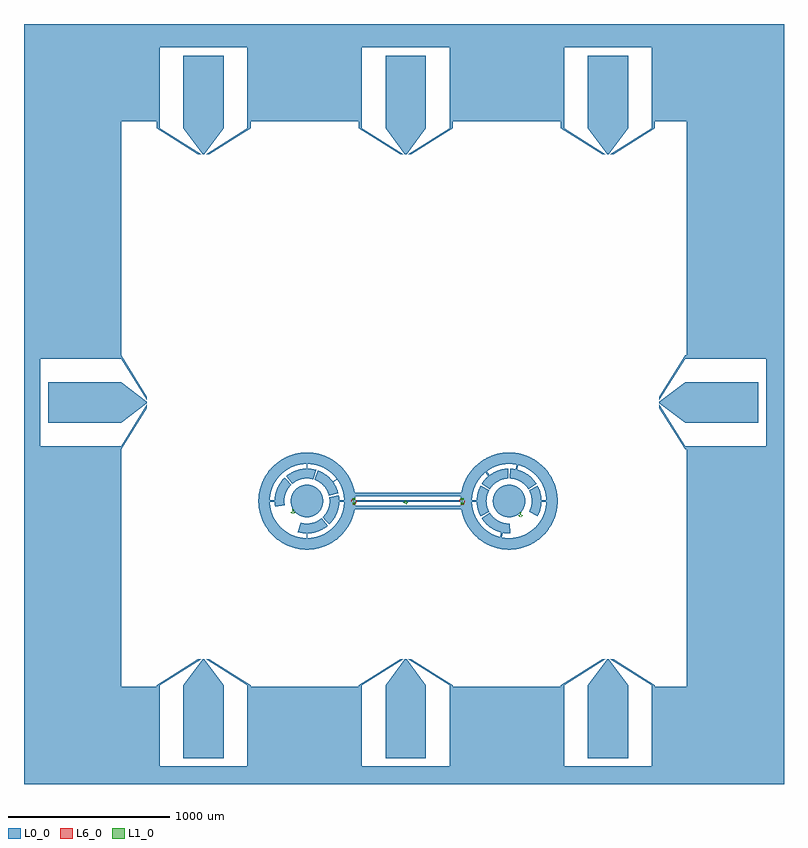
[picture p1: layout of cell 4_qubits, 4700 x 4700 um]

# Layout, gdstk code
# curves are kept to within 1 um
import gdstk
lib = gdstk.Library(unit=1e-6, precision=1e-09)
def R(c, l, rs):  # rectangles x0, y0, x1, y1
    for r in rs: c.add(gdstk.rectangle(r[:2], r[2:], *l))
def P(c, l, *ps):  # polygons
    for p in ps: c.add(gdstk.Polygon(p, *l))
L0_0 = (0, 0)
L1_0 = (1, 0)
L6_0 = (6, 0)

c_4_qubits = lib.new_cell('4_qubits')
R(c_4_qubits, L0_0, [(1977,1700,2773,1720), (1977,1745,2773,1755), (1977,1780,2773,1800)])
P(c_4_qubits, L0_0, [(4700,0),(4700,4700),(0,4700),(0,2089),(100,2089),(100,2631),(600,2631),(760,2375),(760,2395),(600,2651),(600,4100),(820,4100),(820,4055),(1076,3895),(1096,3895),(840,4055),(840,4555),(1382,4555),(1382,4055),(1126,3895),(1146,3895),(1402,4055),(1402,4100),(2070,4100),(2070,4055),(2326,3895),(2346,3895),(2090,4055),(2090,4555),(2632,4555),(2632,4055),(2376,3895),(2396,3895),(2652,4055),(2652,4100),(3320,4100),(3320,4055),(3576,3895),(3596,3895),(3340,4055),(3340,4555),(3882,4555),(3882,4055),(3626,3895),(3646,3895),(3902,4055),(3902,4100),(4100,4100),(4100,2651),(4090,2651),(3930,2395),(3930,2375),(4090,2631),(4590,2631),(4590,2089),(4090,2089),(3930,2345),(3930,2325),(4090,2069),(4100,2069),(4100,600),(3902,600),(3902,610),(3646,770),(3626,770),(3882,610),(3882,110),(3340,110),(3340,610),(3596,770),(3576,770),(3320,610),(3320,600),(2652,600),(2652,610),(2396,770),(2376,770),(2632,610),(2632,110),(2090,110),(2090,610),(2346,770),(2326,770),(2070,610),(2070,600),(1402,600),(1402,610),(1146,770),(1126,770),(1382,610),(1382,110),(840,110),(840,610),(1096,770),(1076,770),(820,610),(820,600),(600,600),(600,2069),(760,2325),(760,2345),(600,2089),(0,2089),(0,0)],
  [(1236,4055),(1236,4505),(986,4505),(986,4055),(1106,3895),(1116,3895)],
  [(2486,4055),(2486,4505),(2236,4505),(2236,4055),(2356,3895),(2366,3895)],
  [(3736,4055),(3736,4505),(3486,4505),(3486,4055),(3606,3895),(3616,3895)],
  [(760,2355),(760,2365),(600,2485),(150,2485),(150,2235),(600,2235)],
  [(4540,2485),(4090,2485),(3930,2365),(3930,2355),(4090,2235),(4540,2235)],
  [(1236,610),(1116,770),(1106,770),(986,610),(986,160),(1236,160)],
  [(2486,610),(2366,770),(2356,770),(2236,610),(2236,160),(2486,160)],
  [(3736,610),(3616,770),(3606,770),(3486,610),(3486,160),(3736,160)],
  [(1754.909,1450.04),(1784.286,1451.966),(1813.333,1456.761),(1841.771,1464.381),(1873.812,1476.741),(1904.231,1492.681),(1928.71,1509.038),(1951.468,1527.715),(1974.128,1550.599),(1864.61,1550.599),(1838.895,1537.873),(1810.14,1528.002),(1780.335,1522.009),(1752,1520.016),(1752,1550.019),(1765.463,1550.599),(1734.714,1550.599),(1748,1550.023),(1748,1520.016),(1719.665,1522.009),(1689.86,1528.002),(1661.105,1537.873),(1635.39,1550.599),(1525.872,1550.599),(1548.532,1527.715),(1575.257,1506.146),(1600,1490.192),(1630.675,1474.752),(1658.229,1464.381),(1691.473,1455.764),(1725.484,1451.003)],
  [(1633.904,1551.451),(1611.751,1566.187),(1588.716,1586.026),(1570.858,1605.749),(1555.398,1627.403),(1476.202,1627.403),(1497.865,1587.433),(1525.872,1550.599)],
  [(1770.245,1551.027),(1803.243,1557.217),(1830.366,1566.857),(1855.825,1580.291),(1879.092,1597.241),(1853.603,1627.403),(1817.586,1627.403),(1790.499,1615.986),(1760.824,1610.419),(1737.323,1610.575),(1710.941,1615.559),(1694.202,1557.941),(1731.89,1550.822)],
  [(1891.854,1609.013),(1895.198,1612.459),(1898.458,1615.984),(1901.632,1619.587),(1904.719,1623.265),(1907.717,1627.015),(1908.012,1627.403),(1867.567,1627.403),(1888.429,1605.648)],
  [(1975.552,1552.196),(2002.135,1587.433),(2023.798,1627.403),(1944.602,1627.403),(1929.142,1605.749),(1908.551,1583.382),(1888.249,1566.187),(1864.61,1550.599),(1974.128,1550.599)],
  [(1553.398,1630.637),(1540.928,1654.14),(1531.257,1678.926),(1524.513,1704.663),(1520.516,1734.619),(1450.399,1734.619),(1453.247,1705.981),(1457.837,1681.877),(1465.921,1653.568),(1476.202,1627.403),(1555.398,1627.403)],
  [(1612.213,1725.208),(1611.657,1728.523),(1611.181,1731.85),(1610.853,1734.619),(1550.602,1734.619),(1550.672,1733.621),(1551.122,1728.84),(1551.688,1724.072),(1552.367,1719.319),(1553.161,1714.583)],
  [(1910.624,1630.837),(1926.067,1655.13),(1937.863,1681.388),(1945.767,1709.067),(1949.394,1734.619),(1889.153,1734.619),(1884.619,1711.56),(1876.293,1689.583),(1864.407,1669.309),(1846.9,1648.954),(1867.567,1627.403),(1908.012,1627.403)],
  [(2025.248,1630.675),(2035.619,1658.229),(2042.163,1681.877),(2046.753,1705.981),(2049.601,1734.619),(1979.484,1734.619),(1975.487,1704.663),(1968.743,1678.926),(1959.072,1654.14),(1944.602,1627.403),(2023.798,1627.403)],
  [(1840.364,1643.069),(1837.771,1640.93),(1835.127,1638.854),(1832.435,1636.843),(1829.694,1634.896),(1826.908,1633.016),(1824.077,1631.204),(1821.204,1629.46),(1818.29,1627.785),(1817.586,1627.403),(1853.603,1627.403)],
  [(1450.361,1735.28),(1520.516,1734.619),(1520.061,1745),(1550.076,1745),(1550.602,1734.619),(1610.853,1734.619),(1610.101,1755.327),(1612.963,1778.653),(1618.496,1798.028),(1627.974,1818.612),(1562.137,1818.612),(1553.307,1786.221),(1550.077,1755),(1520.061,1755),(1523.137,1787.857),(1530.48,1818.612),(1457.955,1818.612),(1451.445,1779.405)],
  [(1885.959,1783.395),(1944.227,1797.707),(1937.847,1818.612),(1872.025,1818.612),(1879.757,1802.566)],
  [(2049.639,1735.28),(2048.555,1779.405),(2042.045,1818.612),(1969.52,1818.612),(1976.863,1787.857),(1979.939,1755),(1949.924,1755),(1946.839,1785.417),(1887.787,1774.792),(1889.919,1754.755),(1889.153,1734.619),(1949.394,1734.619),(1949.923,1745),(1979.939,1745),(1979.484,1734.619)],
  [(1531.257,1821.074),(1544.212,1852.72),(1563.086,1884.014),(1481.606,1884.014),(1467.537,1851.067),(1457.955,1818.612),(1530.48,1818.612)],
  [(1628.383,1819.349),(1639.598,1836.089),(1653.1,1851.046),(1621.485,1884.014),(1601.54,1884.014),(1578.689,1853.212),(1562.137,1818.612)],
  [(1662.229,1859.07),(1684.664,1873.819),(1709.501,1884.014),(1636.749,1884.014),(1659.636,1856.931)],
  [(2041.009,1822.894),(2030.772,1855.675),(2018.394,1884.014),(1931.052,1884.014),(1910.608,1869.161),(1898.441,1884.014),(1798.248,1884.014),(1797.423,1881.723),(1818.789,1871.935),(1840.8,1856.561),(1857.346,1839.872),(1872.025,1818.612),(1937.847,1818.612),(1927.312,1842.523),(1912.962,1865.926),(1937.236,1883.563),(1955.788,1852.72),(1969.52,1818.612),(2042.045,1818.612)],
  [(1563.926,1885.191),(1578.231,1902.956),(1597.044,1921.769),(1614.809,1936.074),(1635.66,1949.556),(1526.01,1949.556),(1500.559,1916.671),(1481.606,1884.014),(1563.086,1884.014)],
  [(1712.73,1884.948),(1732.489,1888.901),(1752.61,1889.976),(1769.354,1888.656),(1789.059,1884.441),(1805.798,1942.059),(1782.396,1947.359),(1763.323,1949.556),(1736.902,1949.556),(1720.228,1947.772),(1696.757,1942.783),(1678.517,1936.789),(1644.175,1919.709),(1620.908,1902.759),(1636.749,1884.014)],
  [(2016.855,1887.071),(1996.68,1920.73),(1973.99,1949.556),(1864.34,1949.556),(1888.249,1933.813),(1911.284,1913.974),(1934.885,1886.799),(1931.052,1884.014),(2018.394,1884.014)],
  [(1897.012,1885.601),(1879.715,1902.23),(1860.551,1916.669),(1839.795,1928.709),(1817.748,1938.176),(1798.248,1884.014),(1898.441,1884.014)],
  [(1611.571,1894.352),(1608.146,1890.987),(1604.802,1887.541),(1601.542,1884.016),(1601.54,1884.014),(1621.485,1884.014)],
  [(1973.99,1949.556),(1951.468,1972.285),(1928.71,1990.962),(1904.231,2007.319),(1873.812,2023.259),(1841.771,2035.619),(1813.333,2043.239),(1784.286,2048.034),(1750,2050),(1715.714,2048.034),(1686.667,2043.239),(1658.229,2035.619),(1626.188,2023.259),(1595.769,2007.319),(1571.29,1990.962),(1548.532,1972.285),(1526.01,1949.556),(1635.66,1949.556),(1661.105,1962.127),(1689.86,1971.998),(1719.665,1977.991),(1748,1979.984),(1748,1949.981),(1736.902,1949.556),(1763.323,1949.556),(1752,1949.977),(1752,1979.984),(1780.335,1977.991),(1810.14,1971.998),(1838.895,1962.127),(1864.34,1949.556)],
  [(1751.441,1849.99),(1734.214,1848.746),(1714.747,1843.58),(1696.71,1834.618),(1680.834,1822.223),(1667.765,1806.898),(1658.031,1789.265),(1652.028,1770.039),(1650,1750),(1652.646,1727.146),(1661.734,1703),(1658.147,1703),(1658.147,1697),(1665.212,1697),(1682.944,1675.814),(1704.216,1661.096),(1725.746,1652.986),(1748.559,1650.01),(1751.441,1650.01)],
  [(1754.322,1650.093),(1771.449,1652.327),(1790.586,1658.606),(1808.077,1668.593),(1823.212,1681.882),(1835.377,1697.935),(1843.062,1713.402),(1847.972,1729.961),(1850,1750),(1847.972,1770.039),(1841.969,1789.265),(1833.841,1804.504),(1821.218,1820.199),(1805.707,1833.047),(1790.586,1841.394),(1771.449,1847.673),(1751.441,1849.99),(1751.441,1650.01)],
  [(3004.909,1450.04),(3034.286,1451.966),(3068.123,1457.837),(3096.432,1465.921),(3128.267,1478.803),(3154.231,1492.681),(3178.71,1509.038),(3205.078,1531.041),(3225.552,1552.196),(3117.346,1552.196),(3088.895,1537.873),(3060.14,1528.002),(3030.335,1522.009),(3000,1520),(2977.22,1521.131),(2953.708,1524.713),(2959.981,1552.196),(2949.724,1552.196),(2943.958,1526.935),(2911.105,1537.873),(2882.654,1552.196),(2774.448,1552.196),(2794.922,1531.041),(2821.29,1509.038),(2850,1490.192),(2880.675,1474.752),(2908.229,1464.381),(2941.473,1455.764),(2975.484,1451.003)],
  [(3006.282,1550.099),(3006.217,1552.196),(2970.539,1552.196),(2973.046,1551.825),(2977.769,1551.239),(2982.506,1550.767),(2987.252,1550.407),(2992.005,1550.16),(2996.763,1550.026),(3001.523,1550.006)],
  [(2880.637,1553.398),(2855.749,1570.858),(2833.382,1591.449),(2813.926,1614.809),(2798.403,1639.297),(2721.176,1639.297),(2733.145,1612.929),(2745.239,1591.58),(2759.038,1571.29),(2774.448,1552.196),(2882.654,1552.196)],
  [(3006.217,1552.196),(3004.398,1610.069),(2981.132,1611.277),(2955.219,1617.355),(2933.843,1626.618),(2914.298,1639.297),(2833.448,1639.297),(2849.852,1617.881),(2866.599,1600.989),(2889.163,1583.521),(2909.711,1571.54),(2931.536,1562.083),(2950.637,1556.197),(2949.724,1552.196),(2959.981,1552.196),(2960.387,1553.975),(2970.539,1552.196)],
  [(3225.552,1552.196),(3240.962,1571.29),(3254.761,1591.58),(3266.855,1612.929),(3278.824,1639.297),(3201.597,1639.297),(3186.074,1614.809),(3166.618,1591.449),(3144.251,1570.858),(3117.346,1552.196)],
  [(2797.721,1640.532),(2787.873,1661.105),(2780.112,1682.552),(2774.513,1704.663),(2770.843,1730.379),(2700.642,1730.379),(2703.247,1705.981),(2707.837,1681.877),(2721.176,1639.297),(2798.403,1639.297)],
  [(2876.618,1683.843),(2867.29,1705.413),(2861.391,1730.379),(2800.979,1730.379),(2804.15,1709.468),(2808.939,1690.875),(2823.739,1655.49)],
  [(3178.479,1659.749),(3192.425,1695.478),(3199.021,1730.379),(3138.609,1730.379),(3132.71,1705.413),(3123.382,1683.843),(3176.261,1655.49)],
  [(3279.005,1639.745),(3287.082,1662.915),(3293.239,1686.667),(3299.358,1730.379),(3229.157,1730.379),(3225.487,1704.663),(3219.888,1682.552),(3212.127,1661.105),(3201.597,1639.297)],
  [(2911.688,1641.368),(2894.896,1657.516),(2881.015,1676.226),(2830.021,1644.609),(2833.448,1639.297),(2914.298,1639.297)],
  [(2700.361,1735.28),(2700.642,1730.379),(2770.843,1730.379),(2770.061,1745),(2800.077,1745),(2800.979,1730.379),(2861.391,1730.379),(2860.01,1751.681),(2862.264,1775.073),(2868.398,1797.76),(2876.618,1816.157),(2811.274,1816.157),(2803.234,1785.819),(2800.077,1755),(2770.061,1755),(2772.542,1784.101),(2779.728,1816.157),(2707.395,1816.157),(2701.003,1774.516)],
  [(3299.639,1735.28),(3298.997,1774.516),(3292.605,1816.157),(3220.272,1816.157),(3227.458,1784.101),(3229.939,1755),(3199.923,1755),(3196.766,1785.819),(3188.726,1816.157),(3123.382,1816.157),(3131.602,1797.76),(3137.736,1775.073),(3139.99,1751.681),(3138.609,1730.379),(3199.021,1730.379),(3199.923,1745),(3229.939,1745),(3229.157,1730.379),(3299.358,1730.379)],
  [(2780.112,1817.448),(2794.212,1852.72),(2813.698,1884.872),(2732.038,1884.872),(2717.537,1851.067),(2707.395,1816.157),(2779.728,1816.157)],
  [(2882.82,1826.609),(2897.286,1845.131),(2917.334,1862.989),(2940.423,1876.691),(2962.455,1884.872),(2852.336,1884.872),(2830.021,1855.391),(2881.015,1823.774)],
  [(3169.979,1855.391),(3147.664,1884.872),(3037.545,1884.872),(3059.577,1876.691),(3082.666,1862.989),(3102.714,1845.131),(3118.985,1823.774)],
  [(3292.163,1818.123),(3282.463,1851.067),(3267.962,1884.872),(3186.302,1884.872),(3205.788,1852.72),(3220.272,1816.157),(3292.605,1816.157)],
  [(2823.739,1844.51),(2821.521,1840.251),(2819.406,1835.941),(2817.395,1831.581),(2815.489,1827.173),(2813.69,1822.722),(2811.997,1818.228),(2811.274,1816.157),(2876.618,1816.157)],
  [(3188.003,1818.228),(3186.31,1822.722),(3184.511,1827.173),(3182.605,1831.581),(3180.594,1835.941),(3178.479,1840.251),(3176.261,1844.51),(3123.382,1816.157),(3188.726,1816.157)],
  [(2965.703,1885.734),(2995.602,1889.931),(2993.76,1948.549),(2969.824,1947.71),(2937.177,1939.877),(2906.301,1926.693),(2879.258,1909.426),(2860.545,1932.89),(2883.904,1948.549),(2775.112,1948.549),(2750.559,1916.671),(2732.038,1884.872),(2813.698,1884.872),(2830.784,1905.775),(2852.723,1926.661),(2871.438,1903.192),(2852.336,1884.872)],
  [(3146.734,1885.901),(3129.403,1902.495),(3110.21,1916.895),(3080.74,1932.978),(3049.364,1943.808),(3050.446,1948.549),(3040.189,1948.549),(3039.616,1946.037),(3023.946,1948.549),(3006.24,1948.549),(3004.398,1889.931),(3021.123,1888.397),(3037.545,1884.872),(3147.664,1884.872)],
  [(3266.855,1887.071),(3246.68,1920.73),(3224.888,1948.549),(3116.096,1948.549),(3135.191,1936.074),(3155.775,1919.216),(3171.769,1902.956),(3186.302,1884.872),(3267.962,1884.872)],
  [(3224.888,1948.549),(3201.468,1972.285),(3178.71,1990.962),(3154.231,2007.319),(3123.812,2023.259),(3091.771,2035.619),(3063.333,2043.239),(3034.286,2048.034),(3000,2050),(2965.714,2048.034),(2936.667,2043.239),(2908.229,2035.619),(2876.188,2023.259),(2845.769,2007.319),(2821.29,1990.962),(2798.532,1972.285),(2775.112,1948.549),(2883.904,1948.549),(2911.105,1962.127),(2939.86,1971.998),(2969.665,1977.991),(3000,1980),(3022.78,1978.869),(3046.292,1975.287),(3040.189,1948.549),(3050.446,1948.549),(3056.042,1973.065),(3085.375,1963.567),(3116.096,1948.549)],
  [(2993.76,1948.549),(2993.718,1949.901),(2988.921,1949.693),(2984.13,1949.369),(2979.348,1948.931),(2976.054,1948.549)],
  [(3020.652,1948.931),(3015.87,1949.369),(3011.079,1949.693),(3006.282,1949.901),(3006.24,1948.549),(3023.946,1948.549)],
  [(3001.441,1849.99),(2984.214,1848.746),(2964.747,1843.58),(2946.71,1834.618),(2930.834,1822.223),(2917.765,1806.898),(2908.031,1789.265),(2902.028,1770.039),(2900,1750),(2902.028,1729.961),(2908.031,1710.735),(2916.159,1695.496),(2928.782,1679.801),(2944.293,1666.953),(2959.414,1658.606),(2978.551,1652.327),(2998.559,1650.01),(3001.441,1650.01)],
  [(3004.322,1650.093),(3021.449,1652.327),(3035.253,1656.42),(3053.29,1665.382),(3067.567,1676.289),(3075.961,1676.289),(3075.961,1682.289),(3073.58,1682.289),(3086.842,1700.417),(3095.016,1718.824),(3098.963,1735.639),(3100,1750),(3097.972,1770.039),(3091.969,1789.265),(3083.841,1804.504),(3071.218,1820.199),(3055.707,1833.047),(3040.586,1841.394),(3021.449,1847.673),(3001.441,1849.99),(3001.441,1650.01)])
P(c_4_qubits, L1_0, [(1658.047,1684.25),(1658.397,1684.25),(1658.397,1681.25),(1658.847,1681.25),(1658.847,1686.25),(1667.947,1686.25),(1667.947,1681.25),(1668.397,1681.25),(1668.397,1684.25),(1668.747,1684.25),(1668.747,1687),(1663.897,1687),(1663.897,1697),(1668.647,1697),(1668.647,1700),(1658.147,1700),(1658.147,1698),(1659.647,1698),(1659.647,1699),(1667.147,1699),(1667.147,1698),(1658.147,1698),(1658.147,1697),(1662.897,1697),(1662.897,1687),(1658.047,1687)],
  [(1666.897,1680.75),(1666.897,1680.507),(1669.397,1680.507),(1669.397,1674.95),(1657.397,1674.95),(1657.397,1680.507),(1659.897,1680.507),(1659.897,1680.75),(1656.897,1680.75),(1656.897,1680.35),(1654.797,1680.35),(1654.797,1681.25),(1649.997,1681.25),(1649.997,1679.35),(1651.397,1679.35),(1651.397,1680.35),(1653.397,1680.35),(1653.397,1679.35),(1649.997,1679.35),(1649.997,1678.45),(1654.797,1678.45),(1654.797,1679.35),(1656.897,1679.35),(1656.897,1674.35),(1669.897,1674.35),(1669.897,1679.35),(1673.397,1679.35),(1673.397,1680.35),(1675.397,1680.35),(1675.397,1679.35),(1671.997,1679.35),(1671.997,1678.45),(1676.797,1678.45),(1676.797,1681.25),(1671.997,1681.25),(1671.997,1680.35),(1669.897,1680.35),(1669.897,1680.75)],
  [(3065.361,1663.539),(3065.711,1663.539),(3065.711,1660.539),(3066.161,1660.539),(3066.161,1665.539),(3075.261,1665.539),(3075.261,1660.539),(3075.711,1660.539),(3075.711,1663.539),(3076.061,1663.539),(3076.061,1666.289),(3071.211,1666.289),(3071.211,1676.289),(3075.961,1676.289),(3075.961,1679.289),(3065.461,1679.289),(3065.461,1677.289),(3066.961,1677.289),(3066.961,1678.289),(3074.461,1678.289),(3074.461,1677.289),(3065.461,1677.289),(3065.461,1676.289),(3070.211,1676.289),(3070.211,1666.289),(3065.361,1666.289)],
  [(3074.211,1660.039),(3074.211,1659.796),(3076.711,1659.796),(3076.711,1654.239),(3064.711,1654.239),(3064.711,1659.796),(3067.211,1659.796),(3067.211,1660.039),(3064.211,1660.039),(3064.211,1659.639),(3062.111,1659.639),(3062.111,1660.539),(3057.311,1660.539),(3057.311,1658.639),(3058.711,1658.639),(3058.711,1659.639),(3060.711,1659.639),(3060.711,1658.639),(3057.311,1658.639),(3057.311,1657.739),(3062.111,1657.739),(3062.111,1658.639),(3064.211,1658.639),(3064.211,1653.639),(3077.211,1653.639),(3077.211,1658.639),(3080.711,1658.639),(3080.711,1659.639),(3082.711,1659.639),(3082.711,1658.639),(3079.311,1658.639),(3079.311,1657.739),(3084.111,1657.739),(3084.111,1660.539),(3079.311,1660.539),(3079.311,1659.639),(3077.211,1659.639),(3077.211,1660.039)],
  [(2039.5,1753),(2037.5,1753),(2037.5,1757.5),(2048,1757.5),(2048,1767.5),(2032,1767.5),(2032,1757.5),(2036.5,1757.5),(2036.5,1752.5),(2039.5,1752.5)],
  [(2709.5,1753),(2707.5,1753),(2707.5,1757.5),(2718,1757.5),(2718,1767.5),(2702,1767.5),(2702,1757.5),(2706.5,1757.5),(2706.5,1752.5),(2709.5,1752.5)],
  [(2359.5,1748),(2359.5,1747.5),(2354.65,1747.5),(2354.65,1744.75),(2354.95,1744.75),(2354.95,1741.75),(2355.45,1741.75),(2355.45,1746.75),(2364.55,1746.75),(2364.55,1741.75),(2365.05,1741.75),(2365.05,1744.75),(2365.35,1744.75),(2365.35,1747.5),(2360.5,1747.5),(2360.5,1748),(2365.25,1748),(2365.25,1751),(2354.75,1751),(2354.75,1749),(2356.25,1749),(2356.25,1750),(2363.75,1750),(2363.75,1749),(2354.75,1749),(2354.75,1748)],
  [(2048,1738.5),(2040.5,1738.5),(2040.5,1743.5),(2040.25,1743.5),(2040.25,1750.5),(2039.75,1750.5),(2039.75,1743.5),(2039.5,1743.5),(2039.5,1738.5),(2032,1738.5),(2032,1728.5),(2048,1728.5)],
  [(2718,1738.5),(2710.5,1738.5),(2710.5,1743.5),(2710.25,1743.5),(2710.25,1750.5),(2709.75,1750.5),(2709.75,1743.5),(2709.5,1743.5),(2709.5,1738.5),(2702,1738.5),(2702,1728.5),(2718,1728.5)],
  [(2351.4,1738.95),(2351.4,1739.85),(2353.5,1739.85),(2353.5,1734.85),(2363.5,1734.85),(2363.5,1731.25),(2366,1731.25),(2366,1734.85),(2366.5,1734.85),(2366.5,1739.85),(2370,1739.85),(2370,1740.85),(2372,1740.85),(2372,1739.85),(2368.6,1739.85),(2368.6,1738.95),(2373.4,1738.95),(2373.4,1741.75),(2368.6,1741.75),(2368.6,1740.85),(2366.5,1740.85),(2366.5,1741.25),(2363.5,1741.25),(2363.5,1735.45),(2354,1735.45),(2354,1740.75),(2356.5,1740.75),(2356.5,1741.25),(2353.5,1741.25),(2353.5,1740.85),(2351.4,1740.85),(2351.4,1741.75),(2346.6,1741.75),(2346.6,1739.85),(2348,1739.85),(2348,1740.85),(2350,1740.85),(2350,1739.85),(2346.6,1739.85),(2346.6,1738.95)])
R(c_4_qubits, L6_0, [(2354.75,1748,2365.25,1751)])
P(c_4_qubits, L6_0, [(2032,1758.5),(2048,1758.5),(2048,1768.5),(2032,1768.5),(2023,1755),(2023,1745)],
  [(2702,1758.5),(2718,1758.5),(2718,1768.5),(2702,1768.5),(2693,1755),(2693,1745)],
  [(2057,1745),(2057,1755),(2048,1737.5),(2032,1737.5),(2032,1727.5),(2048,1727.5)],
  [(2727,1745),(2727,1755),(2718,1737.5),(2702,1737.5),(2702,1727.5),(2718,1727.5)])

lib.write_gds('4_qubits.gds')
